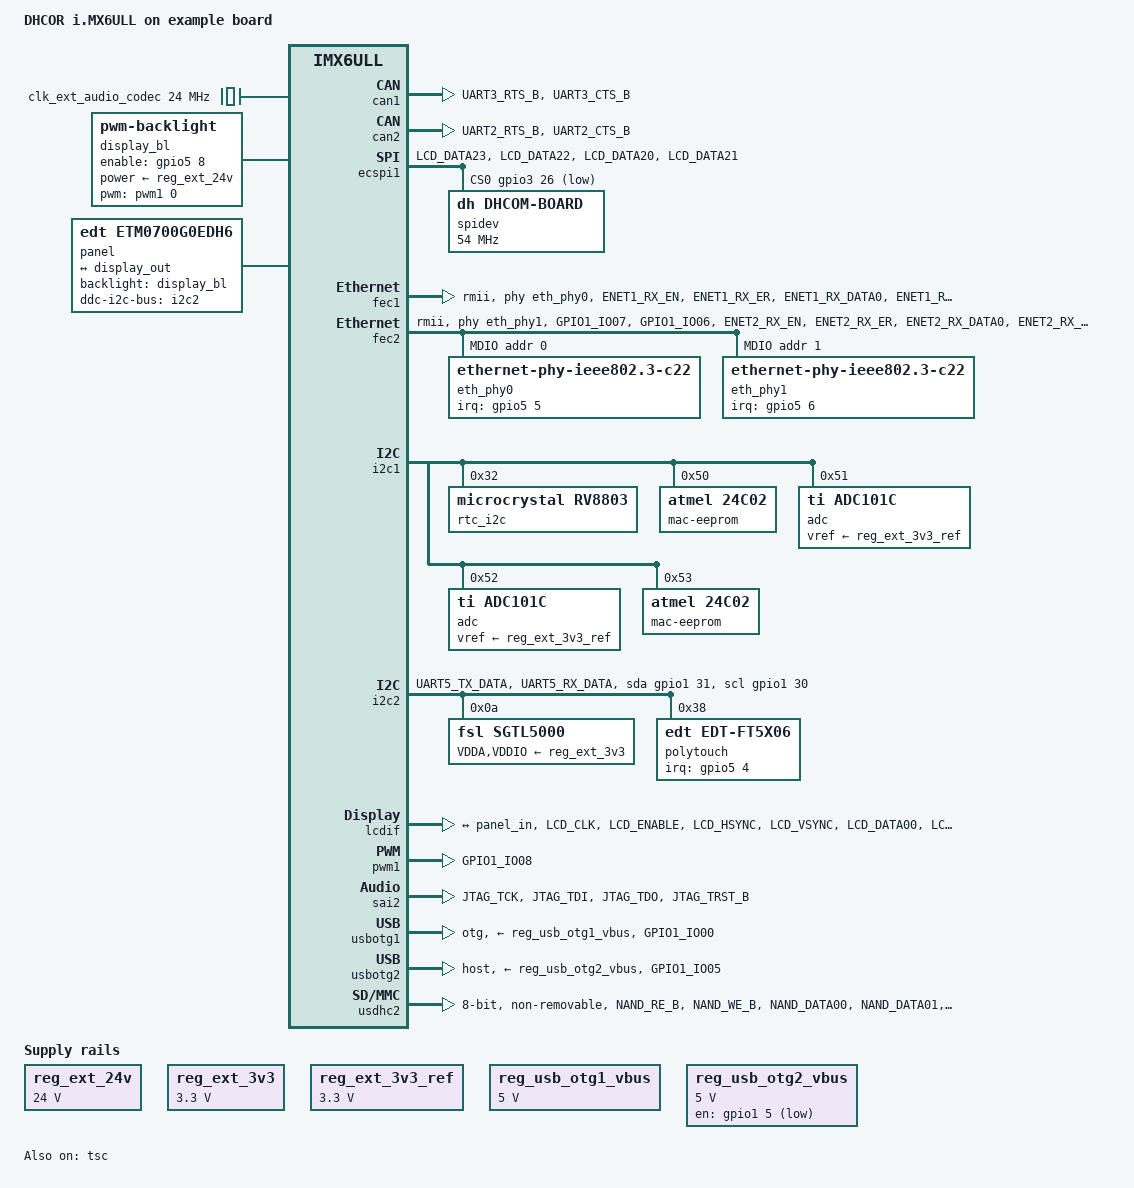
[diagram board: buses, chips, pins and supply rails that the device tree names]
// SPDX-License-Identifier: (GPL-2.0-or-later)
/*
 * Copyright (C) 2018 DH electronics GmbH
 */

/dts-v1/;

#include "imx6ull-dhcor.dtsi"
/* Special configurations */
//#include "imx6ull-dhcor-cfg-bootflash.dtsi"

#include <dt-bindings/pwm/pwm.h>

/ {
	model = "DHCOR i.MX6ULL on example board";
	compatible = "dh,imx6ull-dhcor-example", "fsl,imx6ull";

	aliases {
		rtc0 = &rtc_i2c;
		rtc1 = &snvs_rtc;
		mmc2 = &usdhc2; /* eMMC (on module) should be mmc2 */
	};

	clk_ext_audio_codec: clock-codec {
		compatible = "fixed-clock";
		#clock-cells = <0>;
		clock-frequency = <24000000>;
	};

	display_bl: display-bl {
		compatible = "pwm-backlight";
		pwms = <&pwm1 0 50000 PWM_POLARITY_INVERTED>;
		/* Brightness value  0 1  2  3  4  5  6  7   8   9   10 */
		brightness-levels = <0 16 22 30 40 55 75 102 138 188 255>;
		default-brightness-level = <8>;
		enable-gpios = <&gpio5 8 GPIO_ACTIVE_HIGH>; /* GPIO G */
		power-supply = <&reg_ext_24v>;
		status = "okay";
	};

	panel {
		compatible = "edt,etm0700g0edh6"; /* Default PDK2 display */
		ddc-i2c-bus = <&i2c2>;            /* Using EDID if provided */
		backlight = <&display_bl>;

		port {
			panel_in: endpoint {
				remote-endpoint = <&display_out>;
			};
		};
	};

	reg_ext_24v: regulator-ext-24v {
		compatible = "regulator-fixed";
		regulator-name = "24V_EXT";
		regulator-min-microvolt = <24000000>;
		regulator-max-microvolt = <24000000>;
		regulator-always-on;
	};

	reg_ext_3v3: regulator-ext-3v3 {
		compatible = "regulator-fixed";
		regulator-name = "3V3_EXT";
		regulator-min-microvolt = <3300000>;
		regulator-max-microvolt = <3300000>;
		regulator-always-on;
	};

	reg_ext_3v3_ref: regulator-ext-3v3-ref {
		compatible = "regulator-fixed";
		regulator-name = "VCC_3V3_REF";
		regulator-min-microvolt = <3300000>;
		regulator-max-microvolt = <3300000>;
		regulator-always-on;
	};

	reg_usb_otg1_vbus: regulator-usb-otg1-vbus {
		compatible = "regulator-fixed";
		regulator-name = "usb-otg1-vbus";
		regulator-min-microvolt = <5000000>;
		regulator-max-microvolt = <5000000>;
	};

	reg_usb_otg2_vbus: regulator-usb-otg2-vbus {
		compatible = "regulator-fixed";
		regulator-name = "usb-otg2-vbus";
		regulator-min-microvolt = <5000000>;
		regulator-max-microvolt = <5000000>;
		gpio = <&gpio1 5 GPIO_ACTIVE_LOW>;
	};

	sound {
		compatible = "simple-audio-card";
		simple-audio-card,name = "pdk2-sgtl5000";
		simple-audio-card,format = "i2s";
		simple-audio-card,bitclock-master = <&dailink_master>;
		simple-audio-card,frame-master = <&dailink_master>;
		simple-audio-card,widgets =
			"Microphone", "Mic Jack",
			"Line", "Line In Jack",
			"Headphone", "Headphone Jack";
		simple-audio-card,routing =
			"MIC_IN", "Mic Jack",
			"Mic Jack", "Mic Bias",
			"LINE_IN", "Line In Jack",
			"Headphone Jack", "HP_OUT";

		simple-audio-card,cpu {
			sound-dai = <&sai2>;
		};

		dailink_master: simple-audio-card,codec {
			sound-dai = <&sgtl5000>;
			clocks = <&clk_ext_audio_codec>;
		};
	};
};

&can1 {
	pinctrl-names = "default";
	pinctrl-0 = <&pinctrl_flexcan1>;
	status = "okay";
};

&can2 {
	pinctrl-names = "default";
	pinctrl-0 = <&pinctrl_flexcan2>;
	status = "okay";
};

#ifndef CFG_BOOTFLASH
&ecspi1 { /* DHCOM SPI1 */
	cs-gpios = <&gpio3 26 GPIO_ACTIVE_LOW>;
	pinctrl-names = "default";
	pinctrl-0 = <&pinctrl_ecspi1>;
	power-supply = <&reg_spi_bus>;
	status = "okay";

	spidev@0 {
		compatible = "dh,dhcom-board";
		reg = <0>;
		spi-max-frequency = <54000000>;
		spi-cpha; /* Shifted clock phase (CPHA) mode */
		spi-cpol; /* Inverse clock polarity (CPOL) mode */
	};
};
#endif

&fec1 {
	pinctrl-names = "default";
	pinctrl-0 = <&pinctrl_enet1>;
	phy-mode = "rmii";
	phy-reset-gpios = <&gpio3 23 GPIO_ACTIVE_LOW>;
	phy-reset-duration = <1>;
	phy-reset-post-delay = <10>;
	phy-handle = <&eth_phy0>;
	status = "okay";
};

&fec2 {
	pinctrl-names = "default";
	pinctrl-0 = <&pinctrl_enet2>;
	phy-mode = "rmii";
	phy-reset-gpios = <&gpio3 24 GPIO_ACTIVE_LOW>;
	phy-reset-duration = <1>;
	phy-reset-post-delay = <10>;
	phy-reset-additional-enet-iface = <&fec1>;
	phy-handle = <&eth_phy1>;
	status = "okay";

	mdio {
		#address-cells = <1>;
		#size-cells = <0>;

		eth_phy0: ethernet-phy@0 { /* SMSC LAN8710Ai */
			pinctrl-names = "default";
			pinctrl-0 = <&pinctrl_snvs_eth_phy0>;
			compatible = "ethernet-phy-ieee802.3-c22";
			reg = <0>;
		/* TODO: If this is active SMSC phy isn't accessible
			reset-gpios = <&gpio3 23 GPIO_ACTIVE_LOW>;
			reset-assert-us = <1000>;
			reset-deassert-us = <10000>; */
			clocks = <&clks IMX6UL_CLK_ENET_REF>;
			clock-names = "rmii-ref";
			interrupt-parent = <&gpio5>;
			interrupts = <5 IRQ_TYPE_LEVEL_LOW>;
			smsc,disable-energy-detect; /* Make plugin detection reliable */
			max-speed = <100>;
		};

		eth_phy1: ethernet-phy@1 { /* SMSC LAN8710Ai */
			pinctrl-names = "default";
			pinctrl-0 = <&pinctrl_snvs_eth_phy1>;
			compatible = "ethernet-phy-ieee802.3-c22";
			reg = <1>;
		/* TODO: If this is active SMSC phy isn't accessible
			reset-gpios = <&gpio3 24 GPIO_ACTIVE_LOW>;
			reset-assert-us = <1000>;
			reset-deassert-us = <10000>; */
			clocks = <&clks IMX6UL_CLK_ENET2_REF>;
			clock-names = "rmii-ref";
			interrupt-parent = <&gpio5>;
			interrupts = <6 IRQ_TYPE_LEVEL_LOW>;
			smsc,disable-energy-detect; /* Make plugin detection reliable */
			max-speed = <100>;
		};
	};
};

&gpio1 {		/* 0      1      2      3      4      5      6      7  */
	gpio-line-names =  ""   , ""   , ""   , ""   , ""   , ""   , ""   , ""   ,
			/* 8      9      10     11     12     13     14     15 */
			   ""   , ""   , ""   , "INT", ""   , ""   , ""   , ""   ,
			/* 16     17     18     19     20     21     22     23 */
			   ""   , ""   , "I"  , ""   , ""   , ""   , ""   , ""   ,
			/* 24     25     26     27     28     29     30     31 */
			   ""   , ""   , ""   , ""   , ""   , ""   , ""   , ""   ;
};

&gpio2 {		/* 0      1      2      3      4      5      6      7  */
	gpio-line-names =  ""   , ""   , ""   , ""   , ""   , ""   , ""   , ""   ,
			/* 8      9      10     11     12     13     14     15 */
			   ""   , ""   , ""   , ""   , ""   , ""   , ""   , ""   ,
			/* 16     17     18     19     20     21     22     23 */
			   ""   , ""   , ""   , ""   , ""   , ""   , ""   , ""   ,
			/* 24     25     26     27     28     29     30     31 */
			   ""   , ""   , ""   , ""   , ""   , ""   , ""   , ""   ;
};

&gpio3 {		/* 0      1      2      3      4      5      6      7  */
	gpio-line-names =  ""   , ""   , ""   , ""   , ""   , ""   , ""   , ""   ,
			/* 8      9      10     11     12     13     14     15 */
			   ""   , ""   , ""   , ""   , ""   , ""   , ""   , ""   ,
			/* 16     17     18     19     20     21     22     23 */
			   ""   , ""   , ""   , ""   , ""   , ""   , ""   , ""   ,
			/* 24     25     26     27     28     29     30     31 */
			   ""   , ""   , ""   , ""   , ""   , ""   , ""   , ""   ;
};

&gpio4 {		/* 0      1      2      3      4      5      6      7  */
	gpio-line-names =  ""   , ""   , ""   , ""   , ""   , ""   , "",    ""   ,
			/* 8      9      10     11     12     13     14     15 */
			   ""   , ""   , ""   , ""   , ""   , ""   , ""   , ""   ,
			/* 16     17     18     19     20     21     22     23 */
			   ""   , "L"  , "K"  , "M"  , "J"  , "U"  , "T"  , "S"  ,
			/* 24     25     26     27     28     29     30     31 */
			   "R"  , "Q"  , "P"  , "O"  , "N"  , ""   , ""   , ""   ;
};

&gpio5 {		/* 0      1      2      3      4      5      6      7  */
	gpio-line-names =  "A"  , "B"  , "C"  , "D"  , "E"  , ""   , ""   , "F"  ,
			/* 8      9      10     11     12     13     14     15 */
			   "G"  , "H"  , ""   , ""   , ""   , ""   , ""   , ""   ,
			/* 16     17     18     19     20     21     22     23 */
			   ""   , ""   , ""   , ""   , ""   , ""   , ""   , ""   ,
			/* 24     25     26     27     28     29     30     31 */
			   ""   , ""   , ""   , ""   , ""   , ""   , ""   , ""   ;
};

&i2c1 { /* DHCOM I2C2 */
	rtc_i2c: rtc@32 {
		compatible = "microcrystal,rv8803";
		reg = <0x32>;
	};

	mac-eeprom@50 { /* Microchip 24AA025E48T-I/OT containing MAC for enet1 */
		compatible = "atmel,24c02";
		reg = <0x50>;
		pagesize = <16>;
	};

	adc@51 { /* TI ADC101C027 */
		compatible = "ti,adc101c";
		reg = <0x51>;
		vref-supply = <&reg_ext_3v3_ref>;
	};

	adc@52 { /* TI ADC101C027 */
		compatible = "ti,adc101c";
		reg = <0x52>;
		vref-supply = <&reg_ext_3v3_ref>;
	};

	mac-eeprom@53 { /* Microchip 24AA025E48T-I/OT containing MAC for enet2 */
		compatible = "atmel,24c02";
		reg = <0x53>;
		pagesize = <16>;
	};

	/* pmic@58 used on DHCOR */
};

&i2c2 { /* DHCOM I2C1 */
	pinctrl-names = "default", "gpio";
	pinctrl-0 = <&pinctrl_i2c2>;
	pinctrl-1 = <&pinctrl_i2c2_gpio>;
	scl-gpios = <&gpio1 30 (GPIO_ACTIVE_HIGH | GPIO_OPEN_DRAIN)>;
	sda-gpios = <&gpio1 31 (GPIO_ACTIVE_HIGH | GPIO_OPEN_DRAIN)>;
	clock_frequency = <100000>;
	status = "okay";

	sgtl5000: codec@a {
		compatible = "fsl,sgtl5000";
		reg = <0x0a>;
		#sound-dai-cells = <0>;
		clocks = <&clk_ext_audio_codec>;
		VDDA-supply = <&reg_ext_3v3>;
		VDDIO-supply = <&reg_ext_3v3>;
	};

	polytouch@38 { /* Default PDK2 display touch: edt-ft5x06 */
		compatible = "edt,edt-ft5x06";
		reg = <0x38>;
		interrupt-parent = <&gpio5>;
		interrupts = <4 IRQ_TYPE_EDGE_FALLING>; /* GPIO E */
		linux,wakeup;
	};
};

&lcdif {
	pinctrl-names = "default";
	pinctrl-0 = <&pinctrl_lcdif>;
	status = "okay";

	port {
		display_out: endpoint {
			remote-endpoint = <&panel_in>;
		};
	};
};

&pwm1 {
	pinctrl-names = "default";
	pinctrl-0 = <&pinctrl_pwm1>;
	#pwm-cells = <3>;
	status = "okay";
};

&sai2 {
	pinctrl-names = "default";
	pinctrl-0 = <&pinctrl_sai2>;
	status = "okay";
};

&tsc {
	pinctrl-names = "default";
	pinctrl-0 = <&pinctrl_tsc>;
	xnur-gpio = <&gpio1 3 GPIO_ACTIVE_LOW>;
	measure-delay-time = <0xffff>;
	pre-charge-time = <0xfff>;
	touchscreen-average-samples = <32>;
	status = "okay";
};

&usbotg1 {
	vbus-supply = <&reg_usb_otg1_vbus>;
	pinctrl-names = "default";
	pinctrl-0 = <&pinctrl_usbotg1>;
	disable-over-current;
	dr_mode = "otg";
	srp-disable;
	hnp-disable;
	adp-disable;
	status = "okay";
};

&usbotg2 {
	vbus-supply = <&reg_usb_otg2_vbus>;
	pinctrl-names = "default";
	pinctrl-0 = <&pinctrl_usbotg2>;
	disable-over-current;
	dr_mode = "host";
	tpl-support;
	status = "okay";
};

&usbphy1 {
	fsl,tx-d-cal = <106>;
};

&usbphy2 {
	fsl,tx-d-cal = <106>;
};

&usdhc2 { /* eMMC (on module) */
	pinctrl-names = "default";
	pinctrl-0 = <&pinctrl_usdhc2>;
	non-removable;
	bus-width = <8>;
	no-1-8-v;
	keep-power-in-suspend;
	status = "okay";
};

&iomuxc {
	pinctrl-names = "default";
	pinctrl-0 = <&pinctrl_hog_pdk2>;

	pinctrl_hog_pdk2: hog-pdk2-grp {
		fsl,pins = <
			MX6UL_PAD_UART1_CTS_B__GPIO1_IO18	0x400120b0 /* GPIO I -> BT_REG_ON (BT on LGA) */
			MX6UL_PAD_CSI_HSYNC__GPIO4_IO20		0x400120b0 /* GPIO J */
			MX6UL_PAD_CSI_PIXCLK__GPIO4_IO18	0x400120b0 /* GPIO K */
			MX6UL_PAD_CSI_MCLK__GPIO4_IO17		0x400120b0 /* GPIO L */
			MX6UL_PAD_CSI_VSYNC__GPIO4_IO19		0x400120b0 /* GPIO M */
#ifndef CFG_BOOTFLASH
			MX6UL_PAD_CSI_DATA07__GPIO4_IO28	0x400120b0 /* GPIO N */
			MX6UL_PAD_CSI_DATA06__GPIO4_IO27	0x400120b0 /* GPIO O */
			MX6UL_PAD_CSI_DATA05__GPIO4_IO26	0x400120b0 /* GPIO P */
			MX6UL_PAD_CSI_DATA04__GPIO4_IO25	0x400120b0 /* GPIO Q */
#endif
			MX6UL_PAD_CSI_DATA03__GPIO4_IO24	0x400120b0 /* GPIO R (muxed as GPIO, but unconnected on DHCOM with CFG_BOOTFLASH) */
			MX6UL_PAD_CSI_DATA02__GPIO4_IO23	0x400120b0 /* GPIO S (muxed as GPIO, but unconnected on DHCOM with CFG_BOOTFLASH) */
			MX6UL_PAD_CSI_DATA01__GPIO4_IO22	0x400120b0 /* GPIO T (muxed as GPIO, but unconnected on DHCOM with CFG_BOOTFLASH) */
			MX6UL_PAD_CSI_DATA00__GPIO4_IO21	0x400120b0 /* GPIO U (muxed as GPIO, but unconnected on DHCOM with CFG_BOOTFLASH) */
			/* There isn't a pin defined                          GPIO V */
			/* There isn't a pin defined                          GPIO W */
			MX6UL_PAD_JTAG_TMS__GPIO1_IO11		0x400120b0 /* INT_HIGHEST_PRIORITY */
		>;
	};

	pinctrl_ecspi1: ecspi1-grp {
		fsl,pins = <
			MX6UL_PAD_LCD_DATA23__ECSPI1_MISO	0x100b1
			MX6UL_PAD_LCD_DATA22__ECSPI1_MOSI	0x100b1
			MX6UL_PAD_LCD_DATA20__ECSPI1_SCLK	0x100b1
			MX6UL_PAD_LCD_DATA21__GPIO3_IO26	0x1b0b0 /* SS0 */
		>;
	};

	pinctrl_enet1: enet1-grp {
		fsl,pins = <
			/* enet1 uses MDIO bus from enet2 */
			MX6UL_PAD_ENET1_RX_EN__ENET1_RX_EN	0x1b0b0
			MX6UL_PAD_ENET1_RX_ER__ENET1_RX_ER	0x1b0b0
			MX6UL_PAD_ENET1_RX_DATA0__ENET1_RDATA00	0x1b0b0
			MX6UL_PAD_ENET1_RX_DATA1__ENET1_RDATA01	0x1b0b0
			MX6UL_PAD_ENET1_TX_EN__ENET1_TX_EN	0x1b010
			MX6UL_PAD_ENET1_TX_DATA0__ENET1_TDATA00	0x1b010
			MX6UL_PAD_ENET1_TX_DATA1__ENET1_TDATA01	0x1b010
			MX6UL_PAD_ENET1_TX_CLK__ENET1_REF_CLK1	0x4001b010
			MX6UL_PAD_LCD_DATA18__GPIO3_IO23	0xb0 /* SMSC phy reset */
		>;
	};

	pinctrl_enet2: enet2-grp {
		fsl,pins = <
			MX6UL_PAD_GPIO1_IO07__ENET2_MDC		0x1b0b0
			MX6UL_PAD_GPIO1_IO06__ENET2_MDIO	0x1b0b0
			MX6UL_PAD_ENET2_RX_EN__ENET2_RX_EN	0x1b0b0
			MX6UL_PAD_ENET2_RX_ER__ENET2_RX_ER	0x1b0b0
			MX6UL_PAD_ENET2_RX_DATA0__ENET2_RDATA00	0x1b0b0
			MX6UL_PAD_ENET2_RX_DATA1__ENET2_RDATA01	0x1b0b0
			MX6UL_PAD_ENET2_TX_EN__ENET2_TX_EN	0x1b010
			MX6UL_PAD_ENET2_TX_DATA0__ENET2_TDATA00	0x1b010
			MX6UL_PAD_ENET2_TX_DATA1__ENET2_TDATA01	0x1b010
			MX6UL_PAD_ENET2_TX_CLK__ENET2_REF_CLK2	0x4001b010
			MX6UL_PAD_LCD_DATA19__GPIO3_IO24	0xb0 /* SMSC phy reset */
		>;
	};

	pinctrl_flexcan1: flexcan1-grp{
		fsl,pins = <
			MX6UL_PAD_UART3_RTS_B__FLEXCAN1_RX	0x1b020
			MX6UL_PAD_UART3_CTS_B__FLEXCAN1_TX	0x1b020
		>;
	};

	pinctrl_flexcan2: flexcan2-grp{
		fsl,pins = <
			MX6UL_PAD_UART2_RTS_B__FLEXCAN2_RX	0x1b020
			MX6UL_PAD_UART2_CTS_B__FLEXCAN2_TX	0x1b020
		>;
	};

	pinctrl_i2c2: i2c2-grp {
		fsl,pins = <
			MX6UL_PAD_UART5_TX_DATA__I2C2_SCL	0x4001b8b0
			MX6UL_PAD_UART5_RX_DATA__I2C2_SDA	0x4001b8b0
		>;
	};

	pinctrl_i2c2_gpio: i2c2-gpio-grp {
		fsl,pins = <
			MX6UL_PAD_UART5_TX_DATA__GPIO1_IO30	0x4001b8b0
			MX6UL_PAD_UART5_RX_DATA__GPIO1_IO31	0x4001b8b0
		>;
	};

	pinctrl_lcdif: lcdif-grp {
		fsl,pins = <
			MX6UL_PAD_LCD_CLK__LCDIF_CLK		0x79
			MX6UL_PAD_LCD_ENABLE__LCDIF_ENABLE	0x79
			MX6UL_PAD_LCD_HSYNC__LCDIF_HSYNC	0x79
			MX6UL_PAD_LCD_VSYNC__LCDIF_VSYNC	0x79
			MX6UL_PAD_LCD_DATA00__LCDIF_DATA00	0x79
			MX6UL_PAD_LCD_DATA01__LCDIF_DATA01	0x79
			MX6UL_PAD_LCD_DATA02__LCDIF_DATA02	0x79
			MX6UL_PAD_LCD_DATA03__LCDIF_DATA03	0x79
			MX6UL_PAD_LCD_DATA04__LCDIF_DATA04	0x79
			MX6UL_PAD_LCD_DATA05__LCDIF_DATA05	0x79
			MX6UL_PAD_LCD_DATA06__LCDIF_DATA06	0x79
			MX6UL_PAD_LCD_DATA07__LCDIF_DATA07	0x79
			MX6UL_PAD_LCD_DATA08__LCDIF_DATA08	0x79
			MX6UL_PAD_LCD_DATA09__LCDIF_DATA09	0x79
			MX6UL_PAD_LCD_DATA10__LCDIF_DATA10	0x79
			MX6UL_PAD_LCD_DATA11__LCDIF_DATA11	0x79
			MX6UL_PAD_LCD_DATA12__LCDIF_DATA12	0x79
			MX6UL_PAD_LCD_DATA13__LCDIF_DATA13	0x79
			MX6UL_PAD_LCD_DATA14__LCDIF_DATA14	0x79
			MX6UL_PAD_LCD_DATA15__LCDIF_DATA15	0x79
			MX6UL_PAD_LCD_DATA16__LCDIF_DATA16	0x79
			MX6UL_PAD_LCD_DATA17__LCDIF_DATA17	0x79
		>;
	};

	pinctrl_pwm1: pwm1-grp {
		fsl,pins = <
			MX6UL_PAD_GPIO1_IO08__PWM1_OUT		0x110b0
		>;
	};

	pinctrl_sai2: sai2-grp {
		fsl,pins = <
			MX6UL_PAD_JTAG_TCK__SAI2_RX_DATA	0x130b0
			MX6UL_PAD_JTAG_TDI__SAI2_TX_BCLK	0x17088
			MX6UL_PAD_JTAG_TDO__SAI2_TX_SYNC	0x17088
			MX6UL_PAD_JTAG_TRST_B__SAI2_TX_DATA	0x120b0
		>;
	};

	pinctrl_tsc: tsc-grp {
		fsl,pins = <
			MX6UL_PAD_GPIO1_IO01__GPIO1_IO01	0xb0
			MX6UL_PAD_GPIO1_IO02__GPIO1_IO02	0xb0
			MX6UL_PAD_GPIO1_IO03__GPIO1_IO03	0xb0
			MX6UL_PAD_GPIO1_IO04__GPIO1_IO04	0xb0
		>;
	};

	pinctrl_usbotg1: usbotg1-grp {
		fsl,pins = <
			MX6UL_PAD_GPIO1_IO00__ANATOP_OTG1_ID	0x17059
		>;
	};

	pinctrl_usbotg2: usbotg2-grp {
		fsl,pins = <
			MX6UL_PAD_GPIO1_IO05__GPIO1_IO05	0x120b0
		>;
	};

	pinctrl_usdhc2: usdhc2-grp {
		fsl,pins = <
			MX6UL_PAD_NAND_RE_B__USDHC2_CLK		0x10069
			MX6UL_PAD_NAND_WE_B__USDHC2_CMD		0x17059
			MX6UL_PAD_NAND_DATA00__USDHC2_DATA0	0x17059
			MX6UL_PAD_NAND_DATA01__USDHC2_DATA1	0x17059
			MX6UL_PAD_NAND_DATA02__USDHC2_DATA2	0x17059
			MX6UL_PAD_NAND_DATA03__USDHC2_DATA3	0x17059
			MX6UL_PAD_NAND_DATA04__USDHC2_DATA4	0x17059
			MX6UL_PAD_NAND_DATA05__USDHC2_DATA5	0x17059
			MX6UL_PAD_NAND_DATA06__USDHC2_DATA6	0x17059
			MX6UL_PAD_NAND_DATA07__USDHC2_DATA7	0x17059
			MX6UL_PAD_NAND_ALE__USDHC2_RESET_B	0x17059 /* SD2 RESET */
		>;
	};
};

&iomuxc_snvs {
	pinctrl-names = "default";
	pinctrl-0 = <&pinctrl_snvs_hog_pdk2>;

	pinctrl_snvs_hog_pdk2: snvs-hog-pdk2-grp {
		fsl,pins = <
			MX6ULL_PAD_SNVS_TAMPER0__GPIO5_IO00	0x400120b0 /* GPIO A */
			MX6ULL_PAD_SNVS_TAMPER1__GPIO5_IO01	0x400120b0 /* GPIO B */
			MX6ULL_PAD_SNVS_TAMPER2__GPIO5_IO02	0x400120b0 /* GPIO C */
			MX6ULL_PAD_SNVS_TAMPER3__GPIO5_IO03	0x400120b0 /* GPIO D */
			MX6ULL_PAD_SNVS_TAMPER4__GPIO5_IO04	0x120b0    /* GPIO E -> Polytouch INT */
			MX6ULL_PAD_SNVS_TAMPER7__GPIO5_IO07	0x400120b0 /* GPIO F */
			MX6ULL_PAD_SNVS_TAMPER8__GPIO5_IO08	0x120b0    /* GPIO G -> Backlight enable */
			MX6ULL_PAD_SNVS_TAMPER9__GPIO5_IO09	0x1b0b0    /* GPIO H -> WL_REG_ON (WiFi on LGA) */
		>;
	};

	pinctrl_snvs_eth_phy0: snvs-eth-phy0-grp {
		fsl,pins = <
			MX6ULL_PAD_SNVS_TAMPER5__GPIO5_IO05	0xb0 /* SMSC phy INT */
		>;
	};

	pinctrl_snvs_eth_phy1: snvs-eth-phy1-grp {
		fsl,pins = <
			MX6ULL_PAD_SNVS_TAMPER6__GPIO5_IO06	0xb0 /* SMSC phy INT */
		>;
	};
};
